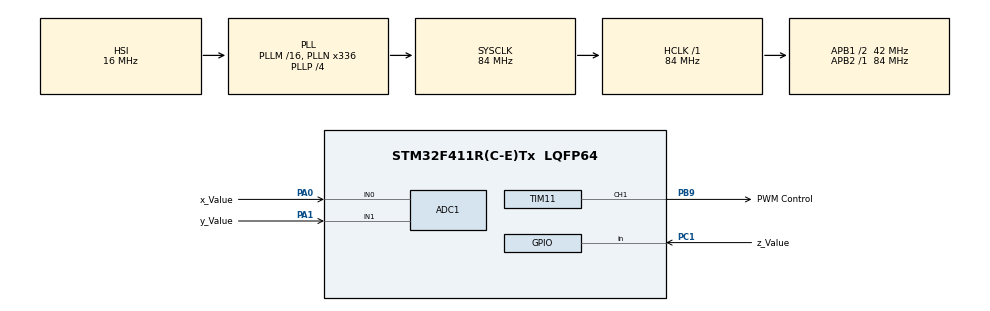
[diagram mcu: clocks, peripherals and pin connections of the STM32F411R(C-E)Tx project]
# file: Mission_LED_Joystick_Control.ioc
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ADC1.Channel-0\#ChannelRegularConversion=ADC_CHANNEL_0
ADC1.Channel-1\#ChannelRegularConversion=ADC_CHANNEL_1
ADC1.ContinuousConvMode=DISABLE
ADC1.DMAContinuousRequests=DISABLE
ADC1.DiscontinuousConvMode=ENABLE
ADC1.EOCSelection=ADC_EOC_SINGLE_CONV
ADC1.ExternalTrigConv=ADC_SOFTWARE_START
ADC1.NbrOfConversion=2
ADC1.NbrOfConversionFlag=1
ADC1.Rank-0\#ChannelRegularConversion=1
ADC1.Rank-1\#ChannelRegularConversion=2
ADC1.SamplingTime-0\#ChannelRegularConversion=ADC_SAMPLETIME_84CYCLES
ADC1.SamplingTime-1\#ChannelRegularConversion=ADC_SAMPLETIME_84CYCLES
ADC1.ScanConvMode=ENABLE
ADC1.master=1
FREERTOS.Tasks01=defaultTask,0,128,StartDefaultTask,Default,NULL,Dynamic,NULL,NULL;LED_Speed,-3,128,led_spd_cntr,Default,NULL,Dynamic,NULL,NULL;LED_Lum,-3,128,led_lum_cntr,Default,NULL,Dynamic,NULL,NULL
FREERTOS.configUSE_NEWLIB_REENTRANT=1
Mcu.Family=STM32F4
Mcu.Name=STM32F411R(C-E)Tx
Mcu.Package=LQFP64
NVIC.ADC_IRQn=true\:5\:0\:false\:false\:true\:true\:true\:true\:true
NVIC.PriorityGroup=NVIC_PRIORITYGROUP_4
NVIC.TIM1_UP_TIM10_IRQn=true\:15\:0\:false\:false\:true\:false\:false\:true\:true
NVIC.TimeBase=TIM1_UP_TIM10_IRQn
NVIC.TimeBaseIP=TIM1
PA0-WKUP.GPIO_Label=x_Value
PA0-WKUP.Signal=ADCx_IN0
PA1.GPIO_Label=y_Value
PA1.Signal=ADCx_IN1
PA13.GPIO_Label=TMS
PA13.Mode=Serial_Wire
PA13.Signal=SYS_JTMS-SWDIO
PA14.GPIO_Label=TCK
PA14.Mode=Serial_Wire
PA14.Signal=SYS_JTCK-SWCLK
PB3.GPIO_Label=SWO
PB3.Signal=SYS_JTDO-SWO
PB9.GPIO_Label=PWM Control
PB9.Signal=S_TIM11_CH1
PC1.GPIO_Label=z_Value
PC1.GPIO_PuPd=GPIO_PULLUP
PC1.Signal=GPIO_Input
PC14-OSC32_IN.Mode=LSE-External-Oscillator
PC14-OSC32_IN.Signal=RCC_OSC32_IN
PC15-OSC32_OUT.Mode=LSE-External-Oscillator
PC15-OSC32_OUT.Signal=RCC_OSC32_OUT
PH0\ -\ OSC_IN.Mode=HSE-External-Clock-Source
PH0\ -\ OSC_IN.Signal=RCC_OSC_IN
PH1\ -\ OSC_OUT.Mode=HSE-External-Clock-Source
PH1\ -\ OSC_OUT.Signal=RCC_OSC_OUT
ProjectManager.HeapSize=0x200
ProjectManager.StackSize=0x400
ProjectManager.TargetToolchain=STM32CubeIDE
RCC.48MHZClocksFreq_Value=84000000
RCC.AHBFreq_Value=84000000
RCC.APB1CLKDivider=RCC_HCLK_DIV2
RCC.APB1Freq_Value=42000000
RCC.APB1TimFreq_Value=84000000
RCC.APB2Freq_Value=84000000
RCC.APB2TimFreq_Value=84000000
RCC.CortexFreq_Value=84000000
RCC.FLatency-AdvancedSettings=FLASH_LATENCY_2
RCC.HCLKFreq_Value=84000000
RCC.HSE_VALUE=8000000
RCC.HSI_VALUE=16000000
RCC.PLLN=336
RCC.PLLP=RCC_PLLP_DIV4
RCC.SYSCLKFreq_VALUE=84000000
RCC.SYSCLKSource=RCC_SYSCLKSOURCE_PLLCLK
RCC.VCOOutputFreq_Value=336000000
SH.ADCx_IN0.0=ADC1_IN0,IN0
SH.ADCx_IN1.0=ADC1_IN1,IN1
SH.S_TIM11_CH1.0=TIM11_CH1,PWM Generation1 CH1
TIM11.Channel=TIM_CHANNEL_1
TIM11.Period=840-1
TIM11.Prescaler=840-1
TIM11.Pulse=0
VP_FREERTOS_VS_CMSIS_V1.Mode=CMSIS_V1
VP_SYS_VS_tim1.Mode=TIM1
VP_TIM11_VS_ClockSourceINT.Mode=Enable_Timer
board=NUCLEO-F411RE

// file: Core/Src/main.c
/* USER CODE BEGIN Header */
/**
  ******************************************************************************
  * @file           : main.c
  * @brief          : Main program body
  ******************************************************************************
  * @attention
  *
  * Copyright (c) 2023 STMicroelectronics.
  * All rights reserved.
  *
  * This software is licensed under terms that can be found in the LICENSE file
  * in the root directory of this software component.
  * If no LICENSE file comes with this software, it is provided AS-IS.
  *
  ******************************************************************************
  */
/* USER CODE END Header */
#include "main.h"
#include "cmsis_os.h"

ADC_HandleTypeDef hadc1;

TIM_HandleTypeDef htim11;

osThreadId defaultTaskHandle;
osThreadId LED_SpeedHandle;
osThreadId LED_LumHandle;
/* USER CODE BEGIN PV */
//int xy[2];
int xVal;
int yVal;
int zVal;
//int led_spd, led_lum;
int count;
int led_OnOff;
/* USER CODE END PV */

void SystemClock_Config(void);
static void MX_GPIO_Init(void);
static void MX_ADC1_Init(void);
static void MX_TIM11_Init(void);
void StartDefaultTask(void const * argument);
void led_spd_cntr(void const * argument);
void led_lum_cntr(void const * argument);

/* USER CODE BEGIN PFP */
void HAL_ADC_ConvCpltCallback(ADC_HandleTypeDef* hadc)
{
//	int count = 0;
	if(count == 0) xVal = HAL_ADC_GetValue(&hadc1);
	else if(count == 1)
	{
		yVal = HAL_ADC_GetValue(&hadc1);
	}
	count++; // callback 1회 호출 시마다 value 하나씩 가져옴
	if(count > 1) count = 0;
	zVal = HAL_GPIO_ReadPin(z_Value_GPIO_Port, z_Value_Pin);

//	switch(count)
//	{
//		case 1 :
//			xVal = HAL_ADC_GetValue(&hadc1);
//			count++;
//			break;
//		case 2 :
//			yVal = HAL_ADC_GetValue(&hadc1);
//			count++;
//			break;
//		case 3 :
//			count = 0;
//			break;
//	}
	HAL_ADC_Start_IT(&hadc1);
}

//void led_Speed_Control()
//{
//	htim10.Instance->CCR1 = led_spd; // CRR1(CH1 채널 레지스터)에 값을 넣어준다는 의미
//	led_spd = 2*xVal;
//	HAL_Delay(10);
//}
//
//void led_lum_Control()
//{
//	htim11.Instance->CCR1 = led_lum;
//	led_lum = yVal*1000/4095;
//	HAL_Delay(10);
//}

/* USER CODE END PFP */

int main(void)
{

  /* MCU Configuration--------------------------------------------------------*/

  /* Reset of all peripherals, Initializes the Flash interface and the Systick. */
  HAL_Init();

  /* Configure the system clock */
  SystemClock_Config();

  /* Initialize all configured peripherals */
  MX_GPIO_Init();
  MX_ADC1_Init();
  MX_TIM11_Init();
  /* USER CODE BEGIN 2 */
  HAL_ADC_Start_IT(&hadc1);
//  HAL_TIM_Base_Start(&htim3);
//  HAL_ADC_Start_DMA(&hadc1, dma, 2);
//  HAL_TIM_PWM_Start(&htim10, TIM_CHANNEL_1);
  HAL_TIM_PWM_Start(&htim11, TIM_CHANNEL_1);
  /* USER CODE END 2 */

  /* Create the thread(s) */
  /* definition and creation of defaultTask */
  osThreadDef(defaultTask, StartDefaultTask, osPriorityNormal, 0, 128);
  defaultTaskHandle = osThreadCreate(osThread(defaultTask), NULL);

  /* definition and creation of LED_Speed */
  osThreadDef(LED_Speed, led_spd_cntr, osPriorityIdle, 0, 128);
  LED_SpeedHandle = osThreadCreate(osThread(LED_Speed), NULL);

  /* definition and creation of LED_Lum */
  osThreadDef(LED_Lum, led_lum_cntr, osPriorityIdle, 0, 128);
  LED_LumHandle = osThreadCreate(osThread(LED_Lum), NULL);

  /* Start scheduler */
  osKernelStart();

  /* We should never get here as control is now taken by the scheduler */
  /* Infinite loop */
  while (1)
  {

    /* USER CODE BEGIN 3 */
//	led_Speed_Control();
//	led_lum_Control();
//	HAL_Delay(10);
  }
  /* USER CODE END 3 */
}

void SystemClock_Config(void)
{
  RCC_OscInitTypeDef RCC_OscInitStruct = {0};
  RCC_ClkInitTypeDef RCC_ClkInitStruct = {0};

  /** Configure the main internal regulator output voltage
  */
  __HAL_RCC_PWR_CLK_ENABLE();
  __HAL_PWR_VOLTAGESCALING_CONFIG(PWR_REGULATOR_VOLTAGE_SCALE1);

  /** Initializes the RCC Oscillators according to the specified parameters
  * in the RCC_OscInitTypeDef structure.
  */
  RCC_OscInitStruct.OscillatorType = RCC_OSCILLATORTYPE_HSI;
  RCC_OscInitStruct.HSIState = RCC_HSI_ON;
  RCC_OscInitStruct.HSICalibrationValue = RCC_HSICALIBRATION_DEFAULT;
  RCC_OscInitStruct.PLL.PLLState = RCC_PLL_ON;
  RCC_OscInitStruct.PLL.PLLSource = RCC_PLLSOURCE_HSI;
  RCC_OscInitStruct.PLL.PLLM = 16;
  RCC_OscInitStruct.PLL.PLLN = 336;
  RCC_OscInitStruct.PLL.PLLP = RCC_PLLP_DIV4;
  RCC_OscInitStruct.PLL.PLLQ = 4;
  if (HAL_RCC_OscConfig(&RCC_OscInitStruct) != HAL_OK)
  {
    Error_Handler();
  }

  /** Initializes the CPU, AHB and APB buses clocks
  */
  RCC_ClkInitStruct.ClockType = RCC_CLOCKTYPE_HCLK|RCC_CLOCKTYPE_SYSCLK
                              |RCC_CLOCKTYPE_PCLK1|RCC_CLOCKTYPE_PCLK2;
  RCC_ClkInitStruct.SYSCLKSource = RCC_SYSCLKSOURCE_PLLCLK;
  RCC_ClkInitStruct.AHBCLKDivider = RCC_SYSCLK_DIV1;
  RCC_ClkInitStruct.APB1CLKDivider = RCC_HCLK_DIV2;
  RCC_ClkInitStruct.APB2CLKDivider = RCC_HCLK_DIV1;

  if (HAL_RCC_ClockConfig(&RCC_ClkInitStruct, FLASH_LATENCY_2) != HAL_OK)
  {
    Error_Handler();
  }
}

static void MX_ADC1_Init(void)
{

  ADC_ChannelConfTypeDef sConfig = {0};

  /** Configure the global features of the ADC (Clock, Resolution, Data Alignment and number of conversion)
  */
  hadc1.Instance = ADC1;
  hadc1.Init.ClockPrescaler = ADC_CLOCK_SYNC_PCLK_DIV4;
  hadc1.Init.Resolution = ADC_RESOLUTION_12B;
  hadc1.Init.ScanConvMode = ENABLE;
  hadc1.Init.ContinuousConvMode = DISABLE;
  hadc1.Init.DiscontinuousConvMode = ENABLE;
  hadc1.Init.NbrOfDiscConversion = 1;
  hadc1.Init.ExternalTrigConvEdge = ADC_EXTERNALTRIGCONVEDGE_NONE;
  hadc1.Init.ExternalTrigConv = ADC_SOFTWARE_START;
  hadc1.Init.DataAlign = ADC_DATAALIGN_RIGHT;
  hadc1.Init.NbrOfConversion = 2;
  hadc1.Init.DMAContinuousRequests = DISABLE;
  hadc1.Init.EOCSelection = ADC_EOC_SINGLE_CONV;
  if (HAL_ADC_Init(&hadc1) != HAL_OK)
  {
    Error_Handler();
  }

  /** Configure for the selected ADC regular channel its corresponding rank in the sequencer and its sample time.
  */
  sConfig.Channel = ADC_CHANNEL_0;
  sConfig.Rank = 1;
  sConfig.SamplingTime = ADC_SAMPLETIME_84CYCLES;
  if (HAL_ADC_ConfigChannel(&hadc1, &sConfig) != HAL_OK)
  {
    Error_Handler();
  }

  /** Configure for the selected ADC regular channel its corresponding rank in the sequencer and its sample time.
  */
  sConfig.Channel = ADC_CHANNEL_1;
  sConfig.Rank = 2;
  if (HAL_ADC_ConfigChannel(&hadc1, &sConfig) != HAL_OK)
  {
    Error_Handler();
  }

}

static void MX_TIM11_Init(void)
{

  TIM_OC_InitTypeDef sConfigOC = {0};

  htim11.Instance = TIM11;
  htim11.Init.Prescaler = 840-1;
  htim11.Init.CounterMode = TIM_COUNTERMODE_UP;
  htim11.Init.Period = 840-1;
  htim11.Init.ClockDivision = TIM_CLOCKDIVISION_DIV1;
  htim11.Init.AutoReloadPreload = TIM_AUTORELOAD_PRELOAD_DISABLE;
  if (HAL_TIM_Base_Init(&htim11) != HAL_OK)
  {
    Error_Handler();
  }
  if (HAL_TIM_PWM_Init(&htim11) != HAL_OK)
  {
    Error_Handler();
  }
  sConfigOC.OCMode = TIM_OCMODE_PWM1;
  sConfigOC.Pulse = 0;
  sConfigOC.OCPolarity = TIM_OCPOLARITY_HIGH;
  sConfigOC.OCFastMode = TIM_OCFAST_DISABLE;
  if (HAL_TIM_PWM_ConfigChannel(&htim11, &sConfigOC, TIM_CHANNEL_1) != HAL_OK)
  {
    Error_Handler();
  }
  HAL_TIM_MspPostInit(&htim11);

}

static void MX_GPIO_Init(void)
{
  GPIO_InitTypeDef GPIO_InitStruct = {0};

  /* GPIO Ports Clock Enable */
  __HAL_RCC_GPIOC_CLK_ENABLE();
  __HAL_RCC_GPIOH_CLK_ENABLE();
  __HAL_RCC_GPIOA_CLK_ENABLE();
  __HAL_RCC_GPIOB_CLK_ENABLE();

  /*Configure GPIO pin : z_Value_Pin */
  GPIO_InitStruct.Pin = z_Value_Pin;
  GPIO_InitStruct.Mode = GPIO_MODE_INPUT;
  GPIO_InitStruct.Pull = GPIO_PULLUP;
  HAL_GPIO_Init(z_Value_GPIO_Port, &GPIO_InitStruct);

}

void StartDefaultTask(void const * argument)
{
  /* USER CODE BEGIN 5 */
  /* Infinite loop */
  for(;;)
  {
	HAL_ADC_Start_IT(&hadc1);
    osDelay(5);
  }
  /* USER CODE END 5 */
}

void led_spd_cntr(void const * argument)
{
  /* USER CODE BEGIN led_spd_cntr */
	int led_spd = 0;
  /* Infinite loop */
  for(;;)
  {
//	htim10.Instance->CCR1 = led_spd; // CRR1(CH1 채널 레지스터)에 값을 넣어준다는 의미
//	led_spd = (xVal*2);
//    osDelay(50);

    led_spd = xVal/2;
    if(led_spd <= 100) led_spd = 100;
    osDelay(led_spd);
    led_OnOff = ~led_OnOff;
  }
  /* USER CODE END led_spd_cntr */
}

void led_lum_cntr(void const * argument)
{
  /* USER CODE BEGIN led_lum_cntr */
	int led_lum = 0;
  /* Infinite loop */
  for(;;)
  {
	htim11.Instance->CCR1 = led_lum;
	if(zVal) led_lum = 0;
	else
	{
//		htim11.Instance->CCR1 = led_lum;
		if(led_OnOff) led_lum = 0;
		else led_lum = yVal*1000/4095;
		osDelay(30);
	}
  }
  /* USER CODE END led_lum_cntr */
}

void HAL_TIM_PeriodElapsedCallback(TIM_HandleTypeDef *htim)
{
  if (htim->Instance == TIM1) {
    HAL_IncTick();
  }
}

void Error_Handler(void)
{
  __disable_irq();
  while (1)
  {
  }
}
